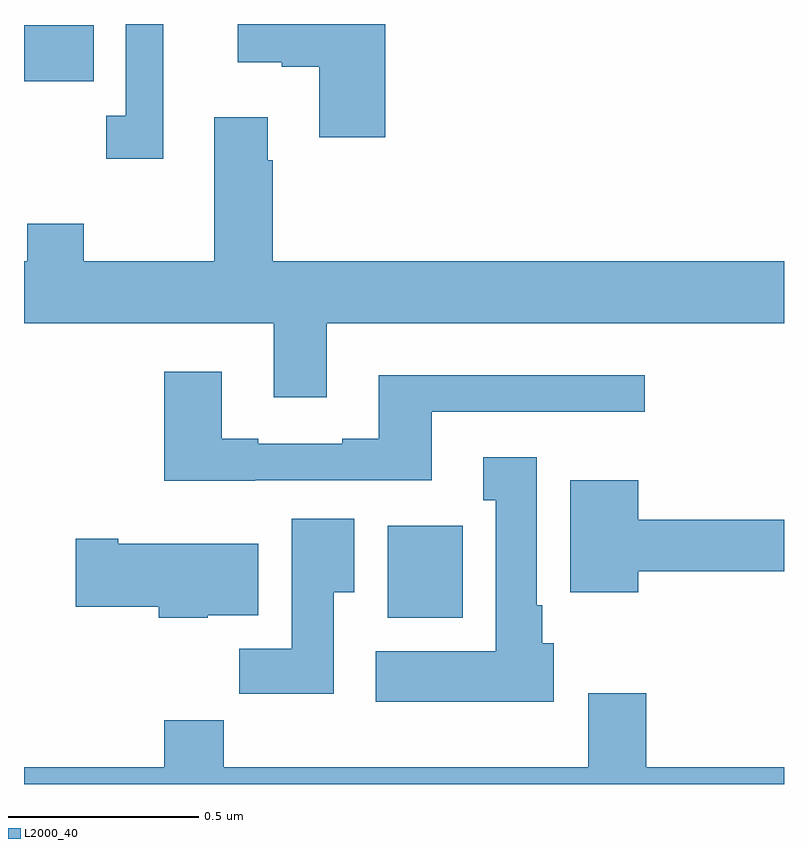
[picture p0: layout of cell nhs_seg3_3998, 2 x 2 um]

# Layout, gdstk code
import gdstk
lib = gdstk.Library(unit=1e-6, precision=1e-09)
def R(c, l, rs):  # rectangles x0, y0, x1, y1
    for r in rs: c.add(gdstk.rectangle(r[:2], r[2:], *l))
def P(c, l, *ps):  # polygons
    for p in ps: c.add(gdstk.Polygon(p, *l))
L2000_40 = (2000, 40)

nhs_seg3_3998 = lib.new_cell('nhs_seg3_3998')
R(nhs_seg3_3998, L2000_40, [(161.957,670.838,162.154,671.08), (161,672.25,161.183,672.397)])
P(nhs_seg3_3998, L2000_40, [(161.366,672.4),(161.268,672.4),(161.268,672.158),(161.217,672.158),(161.217,672.045),(161.366,672.045)],
  [(161.95,672.4),(161.562,672.4),(161.562,672.299),(161.678,672.299),(161.678,672.287),(161.777,672.287),(161.777,672.102),(161.95,672.102)],
  [(161.797,671.612),(163,671.612),(163,671.776),(161.654,671.776),(161.654,672.041),(161.641,672.041),(161.641,672.154),(161.501,672.154),(161.501,671.776),(161.157,671.776),(161.157,671.875),(161.009,671.875),(161.009,671.776),(161,671.776),(161,671.612),(161.657,671.612),(161.657,671.418),(161.797,671.418)],
  [(161.609,671.199),(162.073,671.199),(162.073,671.379),(162.634,671.379),(162.634,671.476),(161.933,671.476),(161.933,671.308),(161.837,671.308),(161.837,671.295),(161.617,671.295),(161.617,671.308),(161.521,671.308),(161.521,671.485),(161.369,671.485),(161.369,671.198),(161.609,671.198)],
  [(162.394,670.77),(162.364,670.77),(162.364,670.87),(162.349,670.87),(162.349,671.26),(162.209,671.26),(162.209,671.147),(162.242,671.147),(162.242,670.75),(161.925,670.75),(161.925,670.616),(162.394,670.616)],
  [(162.616,670.96),(163,670.96),(163,671.096),(162.616,671.096),(162.616,671.2),(162.437,671.2),(162.437,670.904),(162.616,670.904)],
  [(161.815,670.904),(161.869,670.904),(161.869,671.098),(161.705,671.098),(161.705,670.756),(161.566,670.756),(161.566,670.638),(161.815,670.638)],
  [(161.484,670.844),(161.617,670.844),(161.617,671.032),(161.248,671.032),(161.248,671.045),(161.136,671.045),(161.136,670.867),(161.354,670.867),(161.354,670.838),(161.484,670.838)],
  [(163,670.444),(162.638,670.444),(162.638,670.639),(162.485,670.639),(162.485,670.444),(161.525,670.444),(161.525,670.568),(161.369,670.568),(161.369,670.444),(161,670.444),(161,670.4),(163,670.4)])

lib.write_gds('nhs_seg3_3998.gds')
